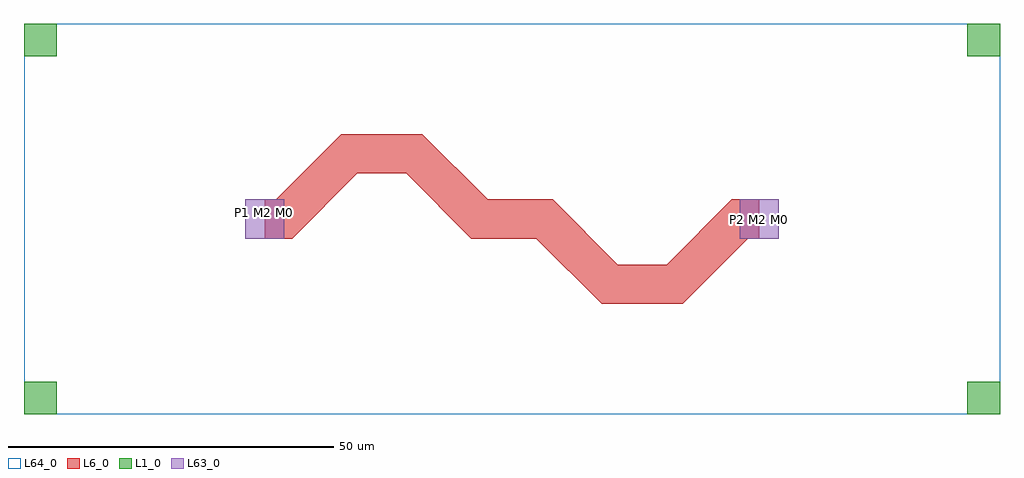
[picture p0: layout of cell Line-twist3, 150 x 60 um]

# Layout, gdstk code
import gdstk
lib = gdstk.Library(unit=1e-6, precision=1e-09)
def R(c, l, rs):  # rectangles x0, y0, x1, y1
    for r in rs: c.add(gdstk.rectangle(r[:2], r[2:], *l))
L1_0 = (1, 0)
L6_0 = (6, 0)
L63_0 = (63, 0)
L64_0 = (64, 0)

line_twist3 = lib.new_cell('Line-twist3')
R(line_twist3, L1_0, [(-75,-30,-70,-25), (70,-30,75,-25), (-75,25,-70,30), (70,25,75,30)])
R(line_twist3, L64_0, [(-75,-30,75,30)])
line_twist3.add(gdstk.FlexPath([(-38,3),(-38,-3)], 6, ends="flush", simple_path=True, layer=63, datatype=0))  # L63_0
line_twist3.add(gdstk.FlexPath([(38,3),(38,-3)], 6, ends="flush", simple_path=True, layer=63, datatype=0))  # L63_0
line_twist3.add(gdstk.FlexPath([(-38,0),(-35,0),(-25,10),(-15,10),(-5,0),(5,0),(15,-10),(25,-10),(35,0),(38,0)], 6, ends="flush", simple_path=True, layer=6, datatype=0))  # L6_0
line_twist3.add(gdstk.Label('P1 M2 M0', (-38,1), layer=64, texttype=0))
line_twist3.add(gdstk.Label('P2 M2 M0', (38,0), layer=64, texttype=0))

lib.write_gds('Line-twist3.gds')
